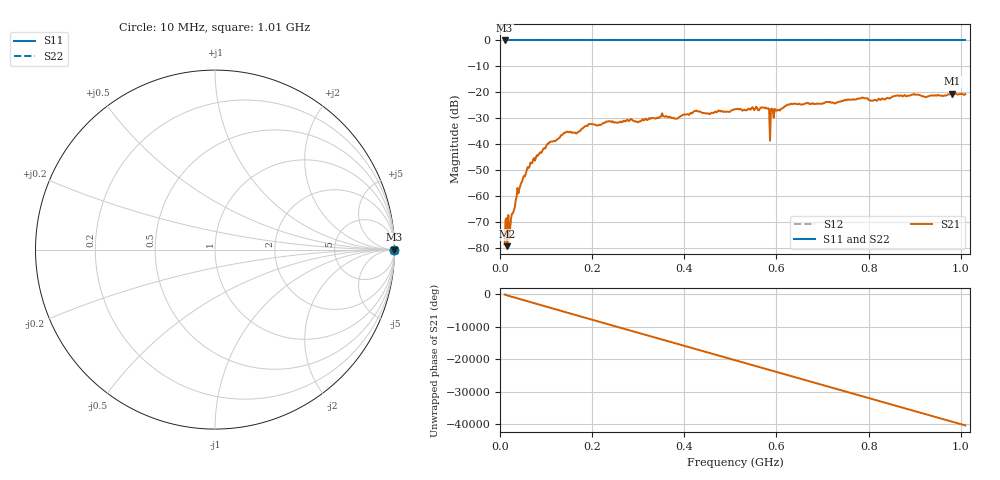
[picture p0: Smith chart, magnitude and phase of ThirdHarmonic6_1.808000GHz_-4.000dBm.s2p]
! 8/16/2025 9:53:34 PM
! C:\ANRITSUVNA\TEMP\TEMP.S2P
! CHANNEL.1
! TR.MEASUREMENT
! RAW.DATA
! RF.CORRECTION.OFF
! AVERAGING.OFF
! IF.BANDWIDTH: 5KHZ
! SWEEPTYPE:  FREQ.SWEEP(Linear)
! Reference Plane Port Info
! PORT:  PORT1  PORT2
! DISTANCE:  0  m  0  m
! TIME:  0  s  0  s
! PHASE.OFFSET:  0  deg.  0  deg.
! LOSS:  0  dB  0  dB
! REF.LOSS:  0  dB  0  dB
! REF.FREQ:  0  Hz  0  Hz
! Power Info
! POWER:  -20  dBm  -20  dBm
! EFF.POWER:  -20  dBm  -20  dBm
! SOURCE.ATTEN:  0  dB  0  dB
! TEST.ATTEN:  0  dB  0  dB
# GHZ S RI R 50.0
! FREQ.GHZ  S11RE  S11IM  S21RE  S21IM  S12RE  S12IM  S22RE  S22IM
!; PortSelection: Port_12
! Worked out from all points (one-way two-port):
!   501 points, 10 MHz to 1.01 GHz, reference 50 ohm
!   highest |S21| = -20.43 dB at 982 MHz (marker M1); lowest = -79.2 dB at 16 MHz (marker M2)
!   lowest |S11| = 0.0 dB at 10 MHz (marker M3)
!   |S11| at or under -10 dB: nowhere
!   |S22| runs from 0.0 to 0.0 dB; largest |S21 - S12| = 1.1
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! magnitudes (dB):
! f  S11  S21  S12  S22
! 10 MHz  0.0  -78.4  0.0  0.0
! 16 MHz  0.0  -79.2  0.0  0.0
! 20 MHz  0.0  -76.4  0.0  0.0
! 42 MHz  0.0  -57.0  0.0  0.0
! 70 MHz  0.0  -47.3  0.0  0.0
! 106 MHz  0.0  -39.6  0.0  0.0
! 142 MHz  0.0  -35.5  0.0  0.0
! 178 MHz  0.0  -33.9  0.0  0.0
! 234 MHz  0.0  -31.3  0.0  0.0
! 344 MHz  0.0  -29.9  0.0  0.0
! 382 MHz  0.0  -30.1  0.0  0.0
! 510 MHz  0.0  -26.5  0.0  0.0
! 578 MHz  0.0  -26.1  0.0  0.0
! 580 MHz  0.0  -26.3  0.0  0.0
! 582 MHz  0.0  -26.1  0.0  0.0
! 590 MHz  0.0  -26.2  0.0  0.0
! 592 MHz  0.0  -26.6  0.0  0.0
! 626 MHz  0.0  -24.7  0.0  0.0
! 678 MHz  0.0  -24.3  0.0  0.0
! 844 MHz  0.0  -22.3  0.0  0.0
! 982 MHz  0.0  -20.4  0.0  0.0
! 1.01 GHz  0.0  -20.7  0.0  0.0
